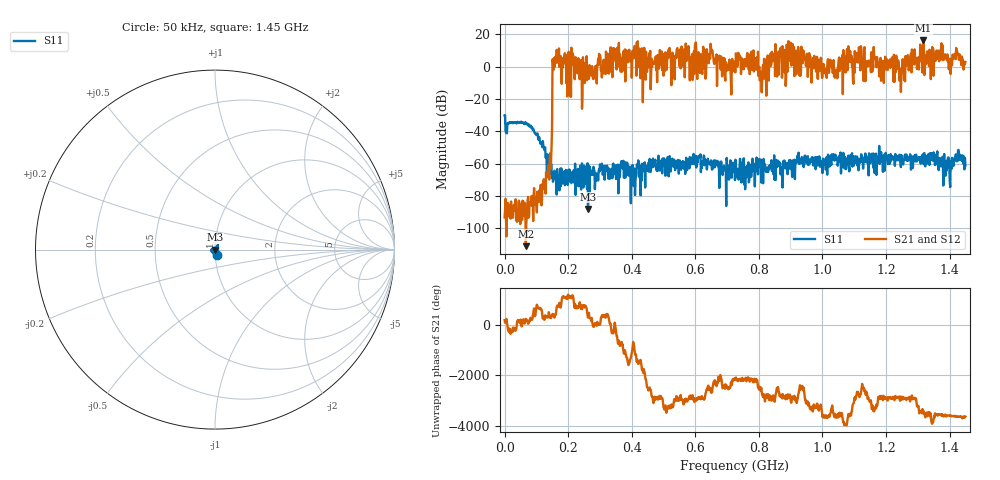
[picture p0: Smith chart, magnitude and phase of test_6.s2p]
! Created with skrf 1.11.0 (http://scikit-rf.org).
# Hz S RI R 50.0
!freq ReS11 ImS11 ReS21 ImS21 ReS12 ImS12 ReS22 ImS22
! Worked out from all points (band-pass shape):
!   1001 points, 50 kHz to 1.45 GHz, reference 50 ohm
!   highest |S21| = 16.25 dB at 1.318 GHz (marker M1); lowest = -111.0 dB at 66.75 MHz (marker M2)
!   |S21| within 3 dB of the highest: 359.4875 MHz to 359.7855 MHz (298 kHz wide, 0.0829 % of centre); 599.2 MHz to 602.4 MHz (3.154 MHz wide, 0.525 % of centre) (the widest 2 of 15)
!   lowest |S11| = -87.9 dB at 262.5 MHz (marker M3), VSWR 1.00, Z = 50 + j0.0016 ohm
!   |S11| at or under -10 dB: start of sweep to end of sweep
!   |S22| runs from - to - dB; largest |S21 - S12| = 0
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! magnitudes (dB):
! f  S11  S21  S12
! 50 kHz  -30.1  -93.1  -93.1
! 66.75 MHz  -34.8  -111.0  -111.0
! 133.4 MHz  -68.0  -67.8  -67.8
! 142.1 MHz  -60.0  -56.9  -56.9
! 158.1 MHz  -64.9  1.0  1.0
! 242.2 MHz  -66.1  2.2  2.2
! 262.5 MHz  -87.9  -2.8  -2.8
! 411.8 MHz  -70.5  5.6  5.6
! 440.8 MHz  -59.2  -3.8  -3.8
! 484.3 MHz  -55.0  5.0  5.0
! 651.1 MHz  -60.1  9.4  9.4
! 725 MHz  -70.1  -3.0  -3.0
! 790.3 MHz  -64.1  5.1  5.1
! 807.7 MHz  -71.6  -6.3  -6.3
! 900.5 MHz  -57.9  14.8  14.8
! 967.2 MHz  -56.0  3.1  3.1
! 1.041 GHz  -54.4  -4.4  -4.4
! 1.115 GHz  -61.1  12.1  12.1
! 1.209 GHz  -54.6  -0.1  -0.1
! 1.253 GHz  -59.2  4.7  4.7
! 1.318 GHz  -60.1  16.2  16.2
! 1.45 GHz  -61.1  2.9  2.9
